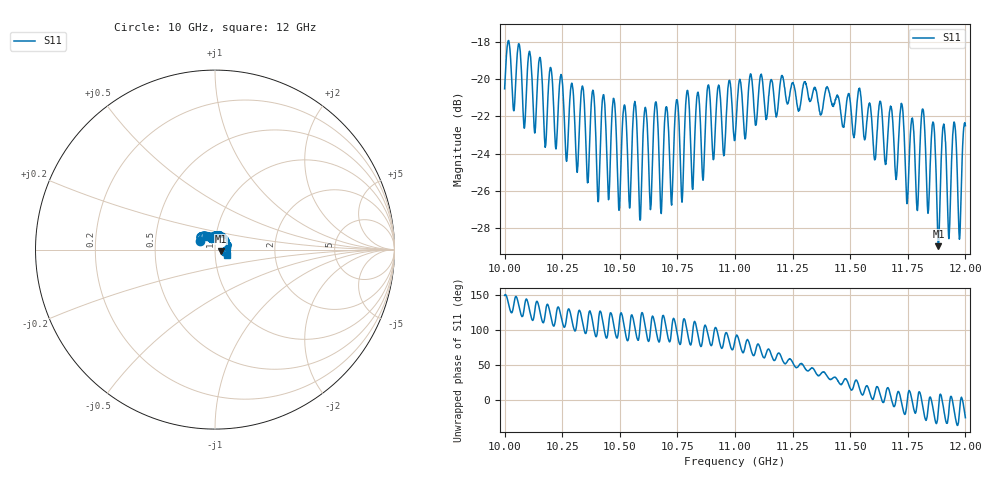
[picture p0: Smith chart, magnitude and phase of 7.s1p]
[Version] 2.0
! Rohde & Schwarz Vector Network Analyzer
! Rohde-Schwarz,ZNL20-2Port,1323001220200009,1.71.1.10-23.02.1.238
! Port Assignments:
! Nominal Port -> Actual Test Port
!  1 -> 1
! Created: GMT 2024-09-04 11:59:38
# Hz S DB R 50
[Number of Ports] 1
! freq[Hz]  S11[mag dB]  S11[ang]
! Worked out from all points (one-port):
!   2001 points, 10 GHz to 12 GHz, reference 50 ohm
!   lowest |S11| = -29.0 dB at 11.88 GHz (marker M1), VSWR 1.07, Z = 53.6 - j0.814 ohm
!   |S11| at or under -10 dB: start of sweep to end of sweep
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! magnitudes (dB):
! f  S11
! 10 GHz  -20.5
! 10.25 GHz  -20.1
! 10.36 GHz  -25.5
! 10.38 GHz  -20.6
! 10.41 GHz  -26.6
! 10.47 GHz  -21.0
! 10.5 GHz  -26.6
! 10.52 GHz  -21.4
! 10.54 GHz  -26.9
! 10.57 GHz  -21.3
! 10.59 GHz  -27.5
! 10.61 GHz  -21.5
! 10.68 GHz  -27.2
! 10.75 GHz  -21.2
! 10.77 GHz  -26.6
! 10.79 GHz  -20.6
! 10.82 GHz  -25.9
! 10.84 GHz  -20.7
! 11 GHz  -23.3
! 11.25 GHz  -20.2
! 11.5 GHz  -21.2
! 11.72 GHz  -21.3
! 11.75 GHz  -26.3
! 11.81 GHz  -21.6
! 11.88 GHz  -29.0
! 11.91 GHz  -22.4
! 11.97 GHz  -28.5
! 12 GHz  -22.5
